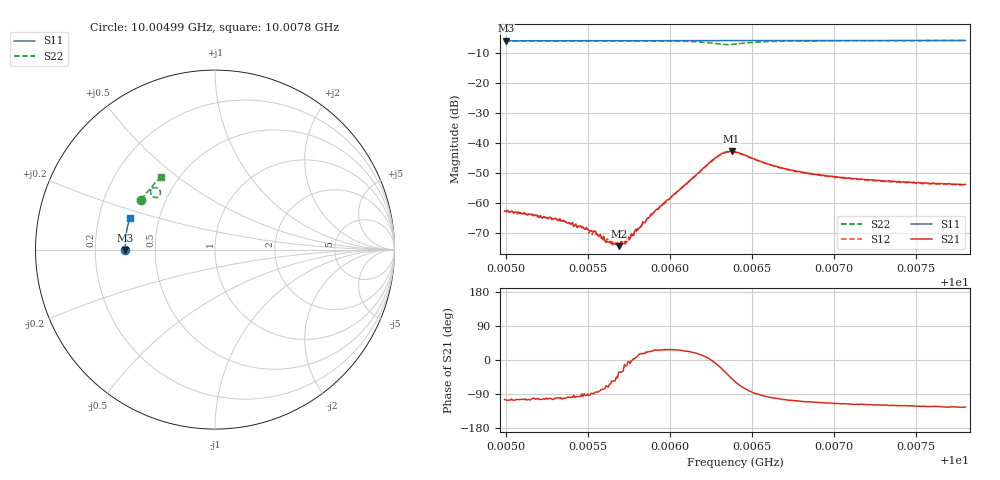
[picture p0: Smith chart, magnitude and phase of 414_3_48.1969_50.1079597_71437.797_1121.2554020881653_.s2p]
#  HZ  S  RI  R  50.00
! Rohde & Schwarz Vector Network Analyzer
! Rohde-Schwarz,ZNB20-2Port,1311601062101988,3.16
! Created: UTC 3/20/2024, 11:54:39 AM
! freq[Hz]  re:S11  im:S11  re:S21  im:S21  re:S12  im:S12  re:S22  im:S22
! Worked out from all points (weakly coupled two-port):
!   401 points, 10.00499 GHz to 10.0078 GHz, reference 50 ohm
!   highest |S21| = -42.82 dB at 10.00637 GHz (marker M1); lowest = -74.4 dB at 10.00569 GHz (marker M2)
!   lowest |S11| = -6.0 dB at 10.005 GHz (marker M3), VSWR 3.00, Z = 16.7 - j0.11 ohm
!   |S11| at or under -10 dB: nowhere
!   |S22| runs from -7.3 to -6.0 dB; largest |S21 - S12| = 0.00046
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1.0004991e10  -0.4997 -0.00289  -0.000179 -0.000717  -0.000117 -0.000705  -0.4097 0.2769
1.0004998e10  -0.4996 -0.00246  -0.00019 -0.000714  -0.000152 -0.000715  -0.4095 0.2774
1.0005145e10  -0.4998 0.00725  -0.000175 -0.000627  -0.000125 -0.000626  -0.4041 0.2858
1.0005314e10  -0.4999 0.018  -8.87e-05 -0.000528  -8.77e-05 -0.000501  -0.3974 0.296
1.0005349e10  -0.4999 0.0205  -9.88e-05 -0.000487  -5.37e-05 -0.00052  -0.3959 0.2981
1.0005461e10  -0.4998 0.0277  3e-06 -0.000388  -2.09e-05 -0.000405  -0.391 0.3047
1.0005532e10  -0.4996 0.0322  1.29e-05 -0.000331  9.3e-06 -0.000347  -0.3878 0.309
1.0005595e10  -0.4994 0.0363  6.18e-05 -0.000274  5.47e-05 -0.000227  -0.3848 0.3128
1.0005616e10  -0.4996 0.0378  8.13e-05 -0.000213  9.54e-05 -0.000236  -0.3836 0.3141
1.0005651e10  -0.4993 0.04  0.000122 -0.000179  0.000115 -0.000165  -0.3819 0.3163
1.0005686e10  -0.4992 0.0424  0.000163 -0.0001  0.000158 -0.000122  -0.38 0.3186
1.0005721e10  -0.4989 0.0444  0.000207 -4.28e-05  0.000213 -8.16e-05  -0.3781 0.3208
1.0005735e10  -0.499 0.0454  0.000216 -5.94e-05  0.000243 -2.28e-05  -0.3773 0.3217
1.0005932e10  -0.4982 0.0581  0.000748 0.000369  0.000712 0.000376  -0.3638 0.3345
1.0006269e10  -0.4953 0.0798  0.00543 -0.000588  0.00534 -0.000279  -0.3078 0.3315
1.0006318e10  -0.4947 0.0827  0.00613 -0.00275  0.00608 -0.00239  -0.3044 0.3116
1.0006374e10  -0.4942 0.0861  0.00478 -0.00542  0.00497 -0.00503  -0.3203 0.2923
1.0006395e10  -0.4942 0.0872  0.00388 -0.00596  0.00409 -0.00562  -0.329 0.2902
1.0006655e10  -0.4921 0.104  -0.000803 -0.00392  -0.000627 -0.00389  -0.3582 0.3322
1.0006866e10  -0.4895 0.1175  -0.0011 -0.00287  -0.000917 -0.00286  -0.3488 0.3525
1.0007336e10  -0.4826 0.1469  -0.00117 -0.00201  -0.00104 -0.00201  -0.3251 0.3809
1.00078e10  -0.4738 0.1754  -0.00114 -0.00169  -0.00108 -0.00167  -0.3014 0.4028
